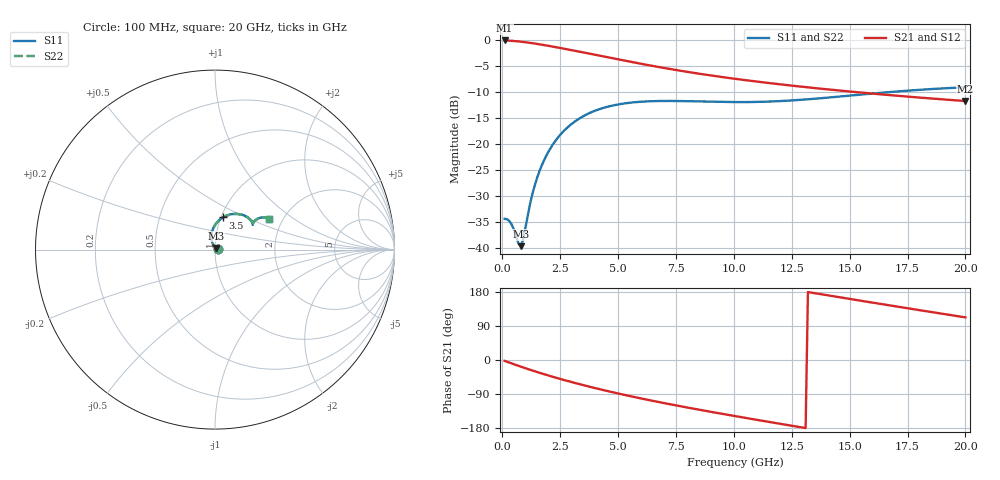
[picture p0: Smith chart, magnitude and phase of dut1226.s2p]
! Touchstone file exported from HFSS 2024.1.0
!  File:  C:/UserFiles/LocalFiles/RDL_TSV_Batchsim/temp_RDL_TSV_1226_1780263431.aedt
!  Generated:  05:58:16 AM Jun  1, 2026
!  Design:  RDL_TSV
!  Project:  temp_RDL_TSV_1226_1780263431
!  Setup:  Setup1
!  Solution:  Sweep
! Variables:
!  dtsv = 11.17um
!  hbump = 3um
!  htsv = 89.44um
!  ldown = 646.72um
!  lrdl = 373.77um
!  p = 40
!  p1 = 55.4um
!  rhole = 10um
!  subl = 3435.24um
!  t = 450um
!  tdown = 2.97um
!  trdl = 2.77um
!  viad = 10um
!  wdown = 21.86um
!  wrdl = 23.29um
!  xbump = 18um
# GHz S MA R 50.000000
! Terminal data exported
! Port[1] = TM1_1_T1
! Port[2] = TM1_4_T1
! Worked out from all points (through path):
!   200 points, 100 MHz to 20 GHz, reference 50 ohm
!   highest |S21| = -0.17 dB at 100 MHz (marker M1); lowest = -11.8 dB at 20 GHz (marker M2)
!   group delay of S21, straight-line fit = 32.3 ps
!   lowest |S11| = -39.6 dB at 800 MHz (marker M3), VSWR 1.02, Z = 50.6 + j0.899 ohm
!   |S11| at or under -10 dB: start of sweep to 16.9 GHz
!   |S22| runs from -39.6 to -9.2 dB; largest |S21 - S12| = 8.6e-15
!   S11 on the Smith chart (normalised r, x): 100 MHz: 1.04, +0.00; 3.5 GHz: 1.02, +0.38; 20 GHz: 1.70, +0.67
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0.1  0.01918 2.9  0.9801 -2.3  0.9801 -2.3  0.01918 2.9
! Gamma 0 0 0 0
! Port Impedance 50 0 50 0
0.4  0.01702 9.3  0.9724 -9.0  0.9724 -9.0  0.01704 9.2
0.7  0.01108 35.8  0.9595 -15.4  0.9595 -15.4  0.0111 35.5
0.8  0.01049 57.9  0.9543 -17.5  0.9543 -17.5  0.01049 57.4
0.9  0.01215 80.5  0.9487 -19.6  0.9487 -19.6  0.0121 80.1
1.1  0.02088 104.3  0.9364 -23.7  0.9364 -23.7  0.02076 104.1
1.3  0.03316 110.4  0.9229 -27.7  0.9229 -27.7  0.03298 110.3
1.5  0.0471 110.5  0.9085 -31.7  0.9085 -31.7  0.04686 110.5
1.8  0.06949 106.9  0.8858 -37.4  0.8858 -37.4  0.06916 106.8
2.1  0.0924 101.6  0.8624 -42.9  0.8624 -42.9  0.09199 101.5
2.5  0.1221 94.0  0.8306 -49.9  0.8306 -49.9  0.1216 93.9
3  0.1559 84.7  0.7911 -58.3  0.7911 -58.3  0.1552 84.6
3.5  0.1846 76.2  0.7523 -66.4  0.7523 -66.4  0.1839 76.1
4.2  0.2156 65.8  0.7005 -77.0  0.7005 -77.0  0.2148 65.7
5.1  0.2411 54.9  0.6393 -89.7  0.6393 -89.7  0.2401 54.9
6.8  0.2579 41.2  0.5432 -111.5  0.5432 -111.5  0.2568 41.1
8.3  0.2559 35.1  0.4783 -128.9  0.4783 -128.9  0.2548 35.0
10.1  0.2517 33.2  0.4193 -148.5  0.4193 -148.5  0.2506 33.1
11.7  0.2556 34.2  0.3789 -165.3  0.3789 -165.3  0.2544 34.1
13.4  0.27 35.7  0.3446 177.3  0.3446 177.3  0.2688 35.6
16.7  0.3135 34.8  0.2941 144.4  0.2941 144.4  0.3121 34.7
20  0.3486 29.8  0.2577 112.5  0.2577 112.5  0.3469 29.6
